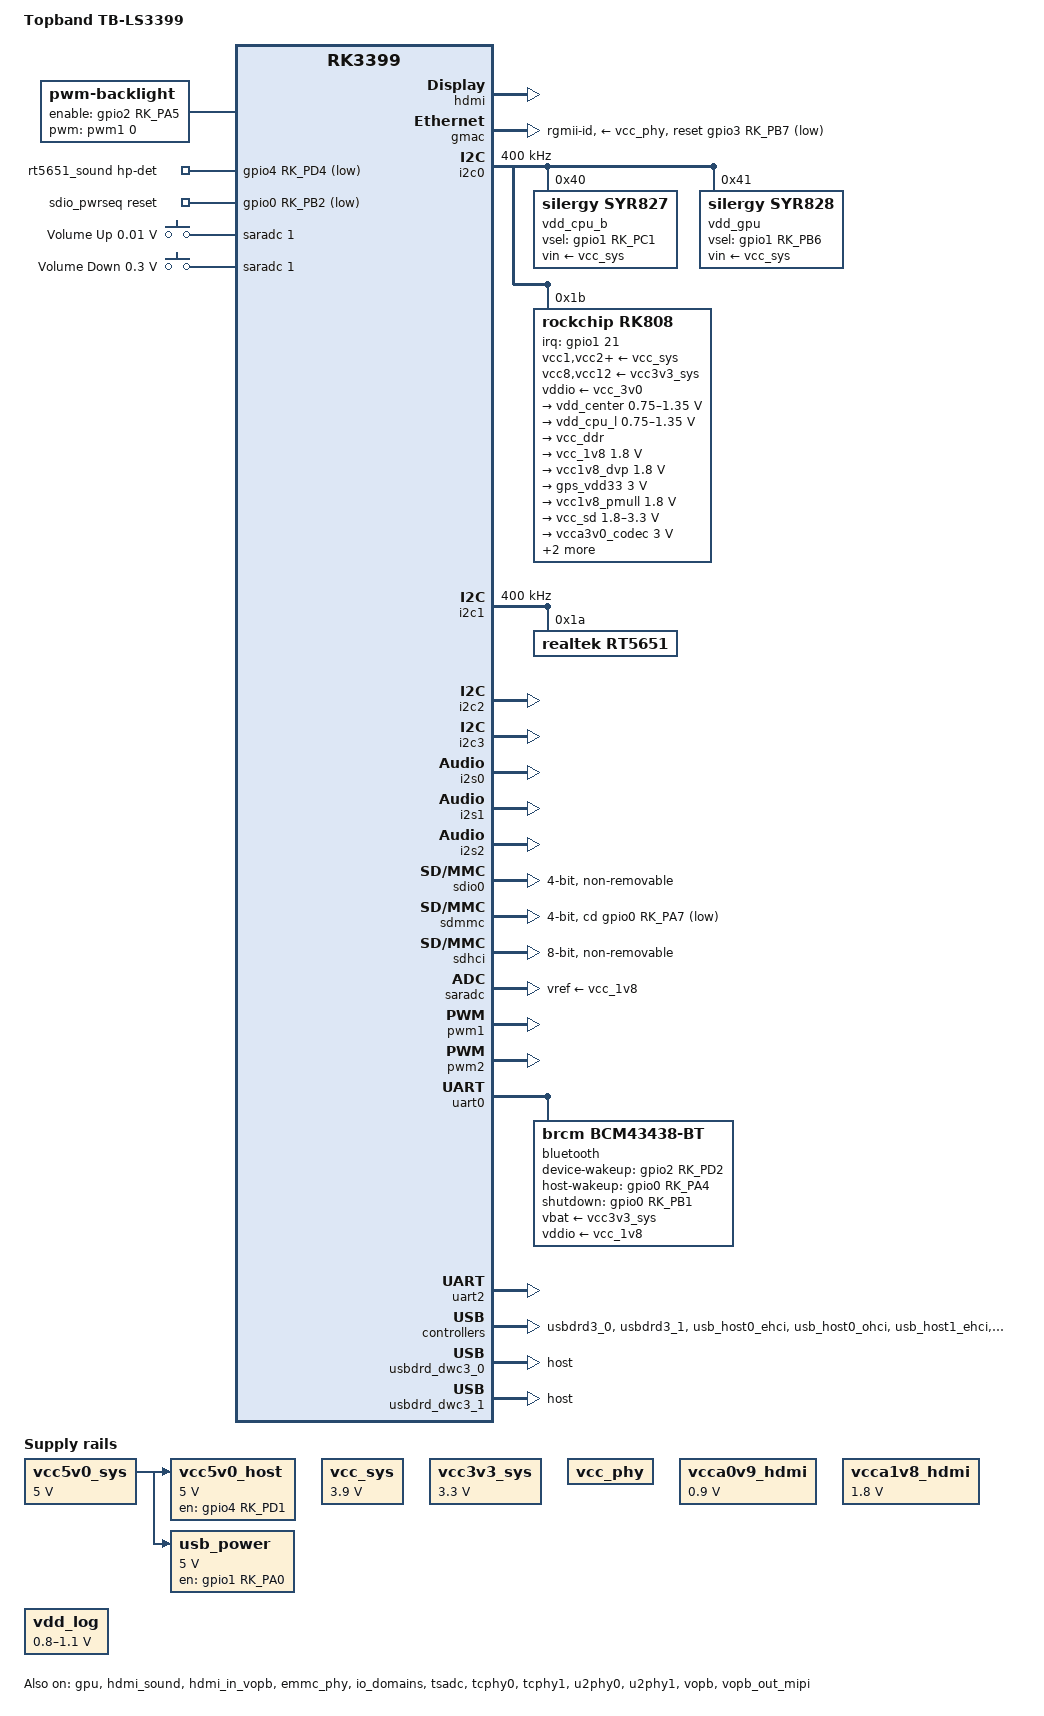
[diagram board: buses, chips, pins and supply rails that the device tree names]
/dts-v1/;
/*
 * Armbian board DTS for Topband / TB LS3399 (RK3399)
 * Based on previous board port + factory Android 8.1 DTB (rk3399-tb-ls3399)
 */

#include <dt-bindings/gpio/gpio.h>
#include <dt-bindings/input/input.h>
#include <dt-bindings/interrupt-controller/irq.h>
#include <dt-bindings/pwm/pwm.h>
#include "rk3399.dtsi"

/ {
	model = "Topband TB-LS3399";
	compatible = "rockchip,rk3399-tb-ls3399", "rockchip,rk3399";

	chosen {
		stdout-path = "serial2:1500000n8";
	};

	aliases {
		mmc0 = &sdhci;
		mmc1 = &sdmmc;
		mmc2 = &sdio0;
		ethernet0 = &gmac;
	};

	clkin_gmac: clkin-gmac {
		compatible = "fixed-clock";
		clock-frequency = <125000000>;
		clock-output-names = "clkin_gmac";
		#clock-cells = <0>;
	};

	vcc5v0_sys: vcc5v0-sys {
		compatible = "regulator-fixed";
		regulator-name = "vcc5v0_sys";
		regulator-min-microvolt = <5000000>;
		regulator-max-microvolt = <5000000>;
		regulator-always-on;
		regulator-boot-on;
	};

	vcc5v0_host: vcc5v0-host {
		compatible = "regulator-fixed";
		regulator-name = "vcc5v0_host";
		regulator-min-microvolt = <5000000>;
		regulator-max-microvolt = <5000000>;
		gpio = <&gpio4 RK_PD1 GPIO_ACTIVE_HIGH>;
		enable-active-high;
		regulator-always-on;
		vin-supply = <&vcc5v0_sys>;
	};

	vcc_sys: vcc-sys {
		compatible = "regulator-fixed";
		regulator-name = "vcc_sys";
		regulator-min-microvolt = <3900000>;
		regulator-max-microvolt = <3900000>;
		regulator-always-on;
		regulator-boot-on;
	};

	vcc3v3_sys: vcc3v3-sys {
		compatible = "regulator-fixed";
		regulator-name = "vcc3v3_sys";
		regulator-min-microvolt = <3300000>;
		regulator-max-microvolt = <3300000>;
		regulator-always-on;
		regulator-boot-on;
	};

	vcc_phy: vcc-phy {
		compatible = "regulator-fixed";
		regulator-name = "vcc_phy";
		regulator-always-on;
		regulator-boot-on;
	};

	/* HDMI PHY rails are hardwired always-on on this board; expose for mainline dw-hdmi */
	vcca0v9_hdmi: vcca0v9-hdmi {
		compatible = "regulator-fixed";
		regulator-name = "vcca0v9_hdmi";
		regulator-min-microvolt = <900000>;
		regulator-max-microvolt = <900000>;
		regulator-always-on;
		regulator-boot-on;
	};

	vcca1v8_hdmi: vcca1v8-hdmi {
		compatible = "regulator-fixed";
		regulator-name = "vcca1v8_hdmi";
		regulator-min-microvolt = <1800000>;
		regulator-max-microvolt = <1800000>;
		regulator-always-on;
		regulator-boot-on;
	};

	/* Factory used PWM2 for vdd_log; keep mainline pwm-regulator binding */
	vdd_log: vdd-log {
		compatible = "pwm-regulator";
		regulator-name = "vdd_log";
		pwms = <&pwm2 0 25000 PWM_POLARITY_INVERTED>;
		regulator-min-microvolt = <800000>;
		regulator-max-microvolt = <1100000>;
		regulator-always-on;
		regulator-boot-on;
	};

	/* USB3 Type-A VBUS switch (factory topband gpio1 PA0 enable) */
	usb_power: usb-power {
		compatible = "regulator-fixed";
		regulator-name = "usb_power";
		regulator-min-microvolt = <5000000>;
		regulator-max-microvolt = <5000000>;
		gpio = <&gpio1 RK_PA0 GPIO_ACTIVE_HIGH>;
		enable-active-high;
		regulator-always-on;
		regulator-boot-on;
		vin-supply = <&vcc5v0_sys>;
	};

	backlight: backlight {
		compatible = "pwm-backlight";
		pwms = <&pwm1 0 50000 0>;
		enable-gpios = <&gpio2 RK_PA5 GPIO_ACTIVE_HIGH>;
		brightness-levels = <
			255 254 253 252 251 250 249 248 247 246 245 244 243 242 241 240
			239 238 237 236 235 234 233 232 231 230 229 228 227 226 225 224
			223 222 221 220 219 218 217 216 215 214 213 212 211 210 209 208
			207 206 205 204 203 202 201 200 199 198 197 196 195 194 193 192
			191 190 189 188 187 186 185 184 183 182 181 180 179 178 177 176
			175 174 173 172 171 170 169 168 167 166 165 164 163 162 161 160
			159 158 157 156 155 154 153 152 151 150 149 148 147 146 145 144
			143 142 141 140 139 138 137 136 135 134 133 132 131 130 129 128
			127 126 125 124 123 122 121 120 119 118 117 116 115 114 113 112
			111 110 109 108 107 106 105 104 103 102 101 100  99  98  97  96
			 95  94  93  92  91  90  89  88  87  86  85  84  83  82  81  80
			 79  78  77  76  75  74  73  72  71  70  69  68  67  66  65  64
			 63  62  61  60  59  58  57  56  55  54  53  52  51  50  49  48
			 47  46  45  44  43  42  41  40  39  38  37  36  35  34  33  32
			 31  30  29  28  27  26  25  24  23  22  21  20  19  18  17  16
			 15  14  13  12  11  10   9   8   7   6   5   4   3   2   1   0
		>;
		default-brightness-level = <200>;
	};

	rt5651_sound: rt5651-sound {
		compatible = "simple-audio-card";
		simple-audio-card,name = "realtek,rt5651-codec";
		simple-audio-card,format = "i2s";
		simple-audio-card,mclk-fs = <256>;
		simple-audio-card,hp-det-gpios = <&gpio4 RK_PD4 GPIO_ACTIVE_LOW>;
		simple-audio-card,widgets =
			"Microphone", "Mic Jack",
			"Headphone", "Headphones";
		simple-audio-card,routing =
			"Mic Jack", "micbias1",
			"IN1P", "Mic Jack",
			"Headphones", "HPOL",
			"Headphones", "HPOR";
		simple-audio-card,cpu {
			sound-dai = <&i2s1>;
		};
		simple-audio-card,codec {
			sound-dai = <&rt5651>;
		};
	};

	sdio_pwrseq: sdio-pwrseq {
		compatible = "mmc-pwrseq-simple";
		clocks = <&rk808 1>;
		clock-names = "ext_clock";
		pinctrl-names = "default";
		pinctrl-0 = <&wifi_enable_h>;
		reset-gpios = <&gpio0 RK_PB2 GPIO_ACTIVE_LOW>;
		post-power-on-delay-ms = <100>;
	};

	adc_keys: adc-keys {
		compatible = "adc-keys";
		io-channels = <&saradc 1>;
		io-channel-names = "buttons";
		keyup-threshold-microvolt = <1800000>;
		poll-interval = <100>;

		/* Keep vol-up ~=0 to match old U-Boot key/flash behavior */
		volume-up-key {
			label = "Volume Up";
			linux,code = <KEY_VOLUMEUP>;
			press-threshold-microvolt = <10000>;
		};

		volume-down-key {
			label = "Volume Down";
			linux,code = <KEY_VOLUMEDOWN>;
			press-threshold-microvolt = <300000>;
		};
	};
};

&cpu_l0 { cpu-supply = <&vdd_cpu_l>; };
&cpu_l1 { cpu-supply = <&vdd_cpu_l>; };
&cpu_l2 { cpu-supply = <&vdd_cpu_l>; };
&cpu_l3 { cpu-supply = <&vdd_cpu_l>; };
&cpu_b0 { cpu-supply = <&vdd_cpu_b>; };
&cpu_b1 { cpu-supply = <&vdd_cpu_b>; };

&gpu {
	mali-supply = <&vdd_gpu>;
	status = "okay";
};

&hdmi {
	avdd-0v9-supply = <&vcca0v9_hdmi>;
	avdd-1v8-supply = <&vcca1v8_hdmi>;
	ddc-i2c-bus = <&i2c3>;
	pinctrl-names = "default";
	pinctrl-0 = <&hdmi_cec>;
	status = "okay";
};

&hdmi_sound {
	status = "okay";
};


/* Route HDMI via VOPB only — VOPL cannot drive 1440p/4K pixel clocks */

&vopl_out_hdmi {
	status = "disabled";
};

&hdmi_in_vopl {
	status = "disabled";
};

&hdmi_in_vopb {
	status = "okay";
};

&cdn_dp {
	status = "disabled";
};

&edp {
	status = "disabled";
};

&gmac {
	phy-supply = <&vcc_phy>;
	phy-mode = "rgmii-id";
	clock_in_out = "input";
	snps,reset-gpio = <&gpio3 RK_PB7 GPIO_ACTIVE_LOW>;
	snps,reset-active-low;
	snps,reset-delays-us = <0 10000 50000>;
	assigned-clocks = <&cru SCLK_RMII_SRC>;
	assigned-clock-parents = <&clkin_gmac>;
	pinctrl-names = "default";
	pinctrl-0 = <&rgmii_pins>;
	tx_delay = <0x00>;
	rx_delay = <0x00>;
	status = "okay";
};

&i2c0 {
	i2c-scl-rising-time-ns = <180>;
	i2c-scl-falling-time-ns = <30>;
	clock-frequency = <400000>;
	status = "okay";

	vdd_cpu_b: syr837@40 {
		compatible = "silergy,syr827";
		reg = <0x40>;
		regulator-compatible = "fan53555-reg";
		regulator-name = "vdd_cpu_b";
		regulator-min-microvolt = <712500>;
		regulator-max-microvolt = <1500000>;
		regulator-ramp-delay = <1000>;
		regulator-always-on;
		regulator-boot-on;
		vin-supply = <&vcc_sys>;
		vsel-gpios = <&gpio1 RK_PC1 GPIO_ACTIVE_HIGH>;
		fcs,suspend-voltage-selector = <1>;

		regulator-state-mem {
			regulator-off-in-suspend;
		};
	};

	vdd_gpu: syr828@41 {
		compatible = "silergy,syr828";
		reg = <0x41>;
		regulator-compatible = "fan53555-reg";
		regulator-name = "vdd_gpu";
		regulator-min-microvolt = <735000>;
		regulator-max-microvolt = <1400000>;
		regulator-ramp-delay = <1000>;
		regulator-always-on;
		regulator-boot-on;
		vin-supply = <&vcc_sys>;
		vsel-gpios = <&gpio1 RK_PB6 GPIO_ACTIVE_HIGH>;
		fcs,suspend-voltage-selector = <1>;

		regulator-state-mem {
			regulator-off-in-suspend;
		};
	};

	rk808: pmic@1b {
		compatible = "rockchip,rk808";
		reg = <0x1b>;
		interrupt-parent = <&gpio1>;
		interrupts = <21 IRQ_TYPE_LEVEL_LOW>;
		#clock-cells = <1>;
		clock-output-names = "xin32k", "rk808-clkout2";
		pinctrl-names = "default";
		pinctrl-0 = <&pmic_int_l>;
		rockchip,system-power-controller;
		wakeup-source;
		vcc1-supply = <&vcc_sys>;
		vcc2-supply = <&vcc_sys>;
		vcc3-supply = <&vcc_sys>;
		vcc4-supply = <&vcc_sys>;
		vcc6-supply = <&vcc_sys>;
		vcc7-supply = <&vcc_sys>;
		vcc8-supply = <&vcc3v3_sys>;
		vcc9-supply = <&vcc_sys>;
		vcc10-supply = <&vcc_sys>;
		vcc11-supply = <&vcc_sys>;
		vcc12-supply = <&vcc3v3_sys>;
		vddio-supply = <&vcc_3v0>;

		regulators {
			vdd_center: DCDC_REG1 {
				regulator-name = "vdd_center";
				regulator-min-microvolt = <750000>;
				regulator-max-microvolt = <1350000>;
				regulator-ramp-delay = <6001>;
				regulator-always-on;
				regulator-boot-on;
				regulator-state-mem { regulator-off-in-suspend; };
			};

			vdd_cpu_l: DCDC_REG2 {
				regulator-name = "vdd_cpu_l";
				regulator-min-microvolt = <750000>;
				regulator-max-microvolt = <1350000>;
				regulator-ramp-delay = <6001>;
				regulator-always-on;
				regulator-boot-on;
				regulator-state-mem { regulator-off-in-suspend; };
			};

			vcc_ddr: DCDC_REG3 {
				regulator-name = "vcc_ddr";
				regulator-always-on;
				regulator-boot-on;
				regulator-state-mem { regulator-on-in-suspend; };
			};

			vcc_1v8: DCDC_REG4 {
				regulator-name = "vcc_1v8";
				regulator-min-microvolt = <1800000>;
				regulator-max-microvolt = <1800000>;
				regulator-always-on;
				regulator-boot-on;
				regulator-state-mem {
					regulator-on-in-suspend;
					regulator-suspend-microvolt = <1800000>;
				};
			};

			vcc1v8_dvp: LDO_REG1 {
				regulator-name = "vcc1v8_dvp";
				regulator-min-microvolt = <1800000>;
				regulator-max-microvolt = <1800000>;
				regulator-always-on;
				regulator-boot-on;
				regulator-state-mem { regulator-off-in-suspend; };
			};

			gps_vdd33: LDO_REG2 {
				regulator-name = "gps_vdd33";
				regulator-min-microvolt = <3000000>;
				regulator-max-microvolt = <3000000>;
				regulator-always-on;
				regulator-boot-on;
				regulator-state-mem { regulator-on-in-suspend; };
			};

			vcc1v8_pmull: LDO_REG3 {
				regulator-name = "vcc1v8_pmull";
				regulator-min-microvolt = <1800000>;
				regulator-max-microvolt = <1800000>;
				regulator-always-on;
				regulator-boot-on;
				regulator-state-mem {
					regulator-on-in-suspend;
					regulator-suspend-microvolt = <1800000>;
				};
			};

			vcc_sd: LDO_REG4 {
				regulator-name = "vcc_sd";
				regulator-min-microvolt = <1800000>;
				regulator-max-microvolt = <3300000>;
				regulator-always-on;
				regulator-boot-on;
				regulator-state-mem {
					regulator-on-in-suspend;
					regulator-suspend-microvolt = <3300000>;
				};
			};

			vcca3v0_codec: LDO_REG5 {
				regulator-name = "vcca3v0_codec";
				regulator-min-microvolt = <3000000>;
				regulator-max-microvolt = <3000000>;
				regulator-always-on;
				regulator-boot-on;
				regulator-state-mem { regulator-off-in-suspend; };
			};

			vcc_1v5: LDO_REG6 {
				regulator-name = "vcc_1v5";
				regulator-min-microvolt = <1500000>;
				regulator-max-microvolt = <1500000>;
				regulator-always-on;
				regulator-boot-on;
				regulator-state-mem {
					regulator-on-in-suspend;
					regulator-suspend-microvolt = <1500000>;
				};
			};

			vcca1v8_codec: LDO_REG7 {
				regulator-name = "vcca1v8_codec";
				regulator-min-microvolt = <1800000>;
				regulator-max-microvolt = <1800000>;
				regulator-always-on;
				regulator-boot-on;
				regulator-state-mem { regulator-off-in-suspend; };
			};

			vcc_3v0: LDO_REG8 {
				regulator-name = "vcc_3v0";
				regulator-min-microvolt = <3000000>;
				regulator-max-microvolt = <3000000>;
				regulator-always-on;
				regulator-boot-on;
				regulator-state-mem {
					regulator-on-in-suspend;
					regulator-suspend-microvolt = <3000000>;
				};
			};

			vcc3v3_s3: SWITCH_REG1 {
				regulator-name = "vcc3v3_s3";
				regulator-always-on;
				regulator-boot-on;
				regulator-state-mem { regulator-off-in-suspend; };
			};

			vcc3v3_s0: SWITCH_REG2 {
				regulator-name = "vcc3v3_s0";
				regulator-always-on;
				regulator-boot-on;
				regulator-state-mem { regulator-off-in-suspend; };
			};
		};
	};
};

&i2c1 {
	i2c-scl-rising-time-ns = <140>;
	i2c-scl-falling-time-ns = <30>;
	clock-frequency = <400000>;
	status = "okay";

	rt5651: rt5651@1a {
		compatible = "realtek,rt5651";
		reg = <0x1a>;
		#sound-dai-cells = <0>;
		clocks = <&cru SCLK_I2S_8CH_OUT>;
		clock-names = "mclk";
	};
};

&i2c2 {
	status = "okay";
};

&i2c3 {
	status = "okay";
};

&i2s0 { status = "okay"; };
&i2s1 { status = "okay"; };
&i2s2 { status = "okay"; };

&sdio0 {
	bus-width = <4>;
	cap-sd-highspeed;
	cap-sdio-irq;
	disable-wp;
	keep-power-in-suspend;
	mmc-pwrseq = <&sdio_pwrseq>;
	non-removable;
	pinctrl-names = "default";
	pinctrl-0 = <&sdio0_bus4 &sdio0_cmd &sdio0_clk>;
	sd-uhs-sdr104;
	status = "okay";
};

&sdmmc {
	bus-width = <4>;
	cap-mmc-highspeed;
	cap-sd-highspeed;
	cd-gpios = <&gpio0 RK_PA7 GPIO_ACTIVE_LOW>;
	cd-debounce-delay-ms = <500>;
	disable-wp;
	max-frequency = <150000000>;
	pinctrl-names = "default";
	pinctrl-0 = <&sdmmc_clk &sdmmc_cmd &sdmmc_cd &sdmmc_bus4>;
	vqmmc-supply = <&vcc_sd>;
	status = "okay";
};

&sdhci {
	bus-width = <8>;
	mmc-hs200-1_8v;
	non-removable;
	status = "okay";
};

&emmc_phy {
	status = "okay";
};

&io_domains {
	audio-supply = <&vcca1v8_codec>;
	bt656-supply = <&vcc1v8_dvp>;
	gpio1830-supply = <&vcc_3v0>;
	sdmmc-supply = <&vcc_sd>;
	status = "okay";
};

&pmu_io_domains {
	pmu1830-supply = <&vcc_3v0>;
	status = "okay";
};

&pinctrl {
	pmic {
		pmic_int_l: pmic-int-l {
			rockchip,pins = <1 RK_PC5 RK_FUNC_GPIO &pcfg_pull_up>;
		};
	};

	wireless-bluetooth {
		uart0_gpios: uart0-gpios {
			rockchip,pins = <2 RK_PC3 RK_FUNC_GPIO &pcfg_pull_none>;
		};
	};

	sdio-pwrseq {
		wifi_enable_h: wifi-enable-h {
			rockchip,pins = <0 RK_PB2 RK_FUNC_GPIO &pcfg_pull_none>;
		};
	};
};

&saradc {
	vref-supply = <&vcc_1v8>;
	status = "okay";
};

&tsadc {
	/* tshut mode 0:CRU 1:GPIO */
	rockchip,hw-tshut-mode = <1>;
	rockchip,hw-tshut-polarity = <1>;
	status = "okay";
};

&pwm1 { status = "okay"; };
&pwm2 { status = "okay"; };

&uart0 {
	pinctrl-names = "default";
	pinctrl-0 = <&uart0_xfer &uart0_cts &uart0_rts>;
	uart-has-rtscts;
	status = "okay";

	bluetooth {
		compatible = "brcm,bcm43438-bt";
		clocks = <&rk808 1>;
		clock-names = "lpo";
		device-wakeup-gpios = <&gpio2 RK_PD2 GPIO_ACTIVE_HIGH>;
		host-wakeup-gpios = <&gpio0 RK_PA4 GPIO_ACTIVE_HIGH>;
		shutdown-gpios = <&gpio0 RK_PB1 GPIO_ACTIVE_HIGH>;
		/* uart0_gpios(PC3) conflicts with uart0_rts; vendor uses RTS-as-GPIO switch. */
		vbat-supply = <&vcc3v3_sys>;
		vddio-supply = <&vcc_1v8>;
	};
};

&uart2 {
	status = "okay";
};

&tcphy0 { status = "okay"; };
&tcphy1 { status = "okay"; };

&u2phy0 {
	status = "okay";

	u2phy0_host: host-port {
		phy-supply = <&vcc5v0_host>;
		status = "okay";
	};

	u2phy0_otg: otg-port {
		phy-supply = <&usb_power>;
		status = "okay";
	};
};

&u2phy1 {
	status = "okay";

	u2phy1_host: host-port {
		phy-supply = <&vcc5v0_host>;
		status = "okay";
	};

	u2phy1_otg: otg-port {
		phy-supply = <&usb_power>;
		status = "okay";
	};
};

&usbdrd3_0 {
	status = "okay";
};

&usbdrd_dwc3_0 {
	/* Two external Type-A USB3 ports: force host */
	dr_mode = "host";
	status = "okay";
};

&usbdrd3_1 {
	status = "okay";
};

&usbdrd_dwc3_1 {
	dr_mode = "host";
	status = "okay";
};

&usb_host0_ehci { status = "okay"; };
&usb_host0_ohci { status = "okay"; };
&usb_host1_ehci { status = "okay"; };
&usb_host1_ohci { status = "okay"; };

&pcie_phy {
	status = "disabled";
};

&pcie0 {
	status = "disabled";
};

&vopb {
	status = "okay";
};

&vopb_mmu {
	status = "okay";
};

&vopl {
	/* Temporarily disabled: VOPL was stealing HDMI and cannot drive high pixel clocks */
	status = "disabled";
};

&vopl_mmu {
	status = "okay";
};

/* Factory panel is on DSI0, 1920x1080 4-lane, routed from VOPB */
&vopb_out_mipi {
	status = "okay";
};

&mipi_dsi {
	/* Disabled until panel supplier/component_add is fixed; blocks rockchip-drm HDMI bind */
	status = "disabled";

	panel@0 {
		compatible = "panel-dsi-simple";
		reg = <0>;
		backlight = <&backlight>;
		power-supply = <&vcc3v3_sys>;
		reset-gpios = <&gpio2 RK_PA3 GPIO_ACTIVE_LOW>;
		enable-gpios = <&gpio2 RK_PA4 GPIO_ACTIVE_HIGH>;
		reset-delay-ms = <1>;
		init-delay-ms = <20>;
		enable-delay-ms = <120>;
		disable-delay-ms = <50>;
		unprepare-delay-ms = <20>;
		dsi,flags = <0xa03>; /* VIDEO|BURST|NO_EOT|LPM */
		dsi,format = <0>;    /* RGB888 */
		dsi,lanes = <4>;
		panel-init-sequence = [
			29 00 06 3c 01 0c 00 0a 00
			29 00 06 14 01 08 00 00 00
			29 00 06 64 01 0c 00 00 00
			29 00 06 68 01 0c 00 00 00
			29 00 06 6c 01 0c 00 00 00
			29 00 06 70 01 0c 00 00 00
			29 00 06 34 01 1f 00 00 00
			29 00 06 10 02 1f 00 00 00
			29 00 06 04 01 01 00 00 00
			29 00 06 04 02 01 00 00 00
			29 00 06 50 04 00 01 f0 03
			29 00 06 54 04 14 00 64 00
			29 00 06 58 04 80 07 a0 00
			29 00 06 5c 04 0a 00 19 00
			29 00 06 60 04 38 04 0a 00
			29 00 06 64 04 01 00 00 00
			29 00 06 a0 04 06 c0 00 00
			29 00 06 04 05 04 00 00 00
			29 00 06 80 04 00 01 02 03
			29 00 06 84 04 04 07 05 08
			29 00 06 88 04 09 0a 0e 0f
			29 00 06 8c 04 0b 0c 0d 10
			29 00 06 90 04 16 17 11 12
			29 00 06 94 04 13 14 15 1b
			29 14 06 98 04 18 19 1a 06
			29 78 06 9c 04 33 04 00 00
		];

		display-timings {
			native-mode = <&timing0>;

			timing0: timing0 {
				clock-frequency = <148500000>;
				hactive = <1920>;
				vactive = <1080>;
				hfront-porch = <160>;
				hback-porch = <100>;
				hsync-len = <20>;
				vfront-porch = <10>;
				vback-porch = <25>;
				vsync-len = <10>;
				hsync-active = <0>;
				vsync-active = <0>;
				de-active = <0>;
				pixelclk-active = <0>;
			};
		};
	};
};

&mipi_dsi1 {
	status = "disabled";
};
